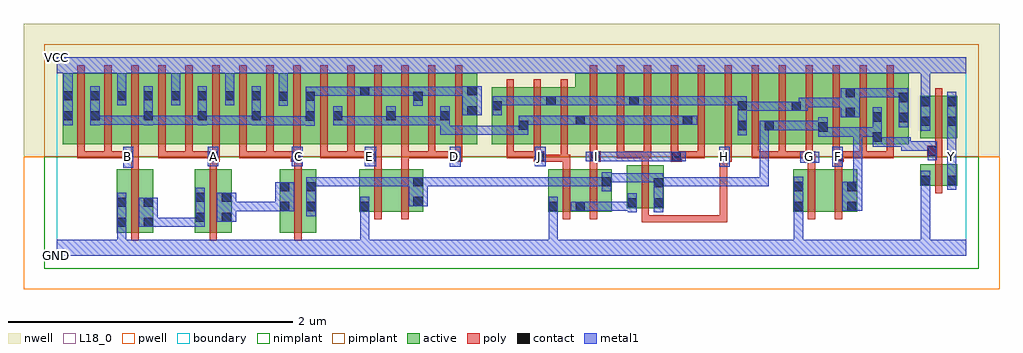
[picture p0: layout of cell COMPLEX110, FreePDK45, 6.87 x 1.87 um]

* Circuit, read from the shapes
.subckt COMPLEX110 A B C D E F G GND H I J VCC Y
M1 n1 B GND VSUBS nfet w=0.45u l=0.05u
M2 n2 A n1 VSUBS nfet w=0.45u l=0.05u
M3 n3 C n2 VSUBS nfet w=0.45u l=0.05u
M4 n4 E GND VSUBS nfet w=0.3u l=0.05u
M5 n3 D n4 VSUBS nfet w=0.3u l=0.05u
M6 n5 J GND VSUBS nfet w=0.3u l=0.05u
M7 n3 I n5 VSUBS nfet w=0.3u l=0.05u
M8 n3 H n5 VSUBS nfet w=0.3u l=0.05u
M9 n6 G GND VSUBS nfet w=0.3u l=0.05u
M10 n3 F n6 VSUBS nfet w=0.3u l=0.05u
M11 Y n3 GND VSUBS nfet w=0.15u l=0.05u
M12 n7 B VCC n8 pfet w=0.5u l=0.05u m=3
M13 VCC A n7 n8 pfet w=0.5u l=0.05u m=3
M14 n7 C VCC n8 pfet w=0.5u l=0.05u m=3
M15 n9 E n7 n8 pfet w=0.5u l=0.05u m=3
M16 n7 D n9 n8 pfet w=0.5u l=0.05u m=3
M17 n9 J n10 n8 pfet w=0.4u l=0.05u m=3
M18 n11 I n9 n8 pfet w=0.5u l=0.05u
M19 n10 H n11 n8 pfet w=0.5u l=0.05u
M20 n12 H n10 n8 pfet w=0.5u l=0.05u
M21 n9 I n12 n8 pfet w=0.5u l=0.05u
M22 n13 I n9 n8 pfet w=0.5u l=0.05u
M23 n10 H n13 n8 pfet w=0.5u l=0.05u
M24 n3 G n10 n8 pfet w=0.5u l=0.05u m=3
M25 n10 F n3 n8 pfet w=0.5u l=0.05u m=3
M26 Y n3 VCC n8 pfet w=0.3u l=0.05u
.ends

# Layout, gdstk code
import gdstk
lib = gdstk.Library(unit=1e-6, precision=1e-09)
def R(c, l, rs):  # rectangles x0, y0, x1, y1
    for r in rs: c.add(gdstk.rectangle(r[:2], r[2:], *l))
def A(c, l, x, y, w, h, nx, ny, dx, dy):  # array of equal rectangles
    R(c, l, [(x+i*dx, y+j*dy, x+i*dx+w, y+j*dy+h) for i in range(nx) for j in range(ny)])
active = (1, 0)
pwell = (2, 0)
nwell = (3, 0)
nimplant = (4, 0)
pimplant = (5, 0)
poly = (9, 0)
contact = (10, 0)
metal1 = (11, 0)
L18_0 = (18, 0)
boundary = (235, 0)

complex110 = lib.new_cell('COMPLEX110')
A(complex110, active, 0.42, 0.787, 0.26, 0.5, 3, 1, 0.38, 0)
A(complex110, active, 2.315, 0.787, 0.265, 0.5, 3, 1, 0.19, 0)
A(complex110, active, 0.42, 0.807, 0.075, 0.448, 3, 1, 0.38, 0)
A(complex110, active, 0.605, 0.807, 0.075, 0.393, 4, 1, 0.38, 0)
A(complex110, active, 4.787, 0.807, 0.075, 0.393, 3, 1, 0.38, 0)
R(complex110, active, [(0.42,0.162,0.68,0.612), (0.972,0.162,1.232,0.612), (1.567,0.162,1.827,0.612), (0.42,0.182,0.495,0.612), (0.605,0.195,0.68,0.612), (0.972,0.195,1.047,0.612), (1.157,0.195,1.232,0.612), (1.567,0.195,1.642,0.612), (1.752,0.195,1.827,0.612), (2.13,0.312,2.205,0.612), (2.13,0.312,2.355,0.612), (2.355,0.312,2.58,0.612), (3.457,0.312,3.532,0.612), (3.457,0.312,3.722,0.612), (3.647,0.312,3.907,0.612), (3.647,0.312,3.722,0.497), (5.182,0.312,5.257,0.612), (5.182,0.312,5.407,0.612), (5.407,0.312,5.632,0.612), (5.557,0.312,5.632,0.612), (3.832,0.332,3.907,0.612), (4.012,0.337,4.087,0.637), (4.012,0.337,4.272,0.637), (4.197,0.337,4.272,0.637), (2.505,0.345,2.58,0.612), (6.077,0.495,6.152,0.645), (6.077,0.495,6.337,0.645), (6.262,0.495,6.337,0.645), (0.04,0.787,0.305,1.287), (0.04,0.787,0.115,1.255), (0.23,0.787,0.495,1.287), (0.605,0.787,0.875,1.287), (0.985,0.787,1.255,1.287), (1.365,0.787,1.63,1.287), (1.555,0.787,1.82,1.287), (1.745,0.787,2.015,1.287), (1.94,0.787,2.205,1.287), (2.13,0.787,2.39,1.287), (2.885,0.787,2.96,1.2), (3.062,0.787,3.322,1.187), (3.062,0.787,3.137,1.155), (3.247,0.787,3.515,1.187), (3.247,0.787,3.322,1.07), (3.44,0.787,3.722,1.187), (3.647,0.787,3.872,1.287), (3.872,0.787,4.1,1.287), (4.025,0.787,4.252,1.287), (4.252,0.787,4.477,1.287), (4.402,0.787,4.632,1.287), (4.632,0.787,4.862,1.287), (4.787,0.787,5.052,1.287), (4.977,0.787,5.242,1.287), (5.167,0.787,5.43,1.287), (5.355,0.787,5.622,1.287), (5.547,0.787,5.812,1.287), (5.737,0.787,5.997,1.287), (5.922,0.787,5.997,1.2), (5.737,0.8,5.812,1.07), (0.23,0.807,0.305,1.2), (1.555,0.807,1.63,1.255), (1.94,0.807,2.015,1.07), (2.13,0.807,2.205,1.2), (2.315,0.807,2.39,1.07), (2.505,0.807,2.58,1.2), (2.695,0.807,2.77,1.07), (4.025,0.807,4.1,1.2), (4.402,0.807,4.477,1.07), (4.977,0.807,5.052,1.07), (5.355,0.807,5.43,1.07), (6.077,0.827,6.152,1.127), (6.077,0.827,6.337,1.127), (6.262,0.827,6.337,1.127), (3.44,0.907,3.515,1.155), (3.647,0.907,3.722,1.07)])
R(complex110, pwell, [(-0.235,-0.235,6.635,0.7)])
R(complex110, nwell, [(-0.235,0.7,6.635,1.635)])
R(complex110, nimplant, [(-0.09,-0.09,6.49,0.7)])
R(complex110, pimplant, [(-0.09,0.7,6.49,1.49)])
A(complex110, poly, 0.145, 0.687, 0.05, 0.095, 15, 1, 0.19, 0)
A(complex110, poly, 0.145, 0.687, 0.24, 0.05, 5, 1, 0.57, 0)
A(complex110, poly, 3.752, 0.687, 0.05, 0.095, 12, 1, 0.19, 0)
A(complex110, poly, 0.145, 0.732, 0.05, 0.61, 15, 1, 0.19, 0)
A(complex110, poly, 3.167, 0.732, 0.05, 0.51, 3, 1, 0.19, 0)
A(complex110, poly, 3.752, 0.732, 0.05, 0.61, 12, 1, 0.19, 0)
R(complex110, poly, [(0.525,0.107,0.575,0.667), (1.077,0.107,1.127,0.667), (1.672,0.107,1.722,0.667), (4.117,0.237,4.167,0.332), (4.117,0.237,4.167,0.287), (4.117,0.237,4.167,0.287), (4.117,0.237,4.167,0.287), (4.117,0.237,4.345,0.287), (4.295,0.237,4.345,0.287), (4.295,0.237,4.345,0.287), (4.295,0.237,4.345,0.287), (4.295,0.237,4.345,0.287), (4.295,0.237,4.345,0.287), (4.295,0.237,4.345,0.287), (4.295,0.237,4.345,0.287), (4.295,0.237,4.53,0.287), (4.48,0.237,4.53,0.287), (4.48,0.237,4.717,0.287), (4.667,0.237,4.717,0.287), (4.667,0.237,4.717,0.287), (4.667,0.237,4.717,0.287), (4.667,0.237,4.717,0.287), (4.667,0.237,4.717,0.287), (4.667,0.237,4.717,0.712), (2.235,0.257,2.285,0.667), (2.425,0.257,2.475,0.667), (3.562,0.257,3.612,0.667), (3.752,0.257,3.802,0.667), (5.287,0.257,5.337,0.667), (5.477,0.257,5.527,0.667), (4.117,0.282,4.167,0.692), (6.182,0.44,6.232,0.7), (0.525,0.617,0.575,0.712), (1.077,0.617,1.127,0.712), (1.672,0.617,1.722,0.712), (2.235,0.617,2.285,0.712), (2.425,0.617,2.475,0.737), (3.562,0.617,3.612,0.712), (3.752,0.617,3.802,0.712), (5.287,0.617,5.337,0.712), (5.477,0.617,5.527,0.712), (4.117,0.642,4.167,0.737), (6.182,0.65,6.232,0.752), (0.467,0.662,0.575,0.737), (1.067,0.662,1.145,0.737), (1.647,0.662,1.722,0.737), (2.177,0.662,2.285,0.737), (2.772,0.662,2.855,0.737), (3.357,0.662,3.432,0.737), (3.382,0.662,3.597,0.712), (3.547,0.662,3.597,0.712), (3.547,0.662,3.597,0.712), (3.547,0.662,3.612,0.712), (3.547,0.662,3.597,0.782), (3.752,0.662,3.827,0.737), (4.322,0.662,4.397,0.737), (4.667,0.662,4.752,0.737), (5.262,0.662,5.337,0.737), (5.462,0.662,5.537,0.737), (0.145,0.687,0.195,0.737), (0.335,0.687,0.385,0.737), (0.335,0.687,0.385,0.737), (0.335,0.687,0.385,0.737), (0.335,0.687,0.517,0.737), (0.467,0.687,0.517,0.737), (0.467,0.687,0.517,0.737), (0.715,0.687,0.765,0.737), (0.905,0.687,0.955,0.737), (0.905,0.687,0.955,0.737), (0.905,0.687,0.955,0.737), (0.905,0.687,1.117,0.737), (1.067,0.687,1.117,0.737), (1.067,0.687,1.117,0.737), (1.285,0.687,1.335,0.737), (1.285,0.687,1.335,0.737), (1.285,0.687,1.335,0.737), (1.475,0.687,1.525,0.737), (1.475,0.687,1.697,0.737), (1.647,0.687,1.697,0.737), (1.647,0.687,1.697,0.737), (1.855,0.687,1.905,0.737), (2.045,0.687,2.095,0.737), (2.045,0.687,2.095,0.737), (2.045,0.687,2.095,0.737), (2.045,0.687,2.227,0.737), (2.177,0.687,2.227,0.737), (2.177,0.687,2.227,0.737), (2.425,0.687,2.475,0.737), (2.425,0.687,2.475,0.737), (2.425,0.687,2.475,0.737), (2.615,0.687,2.665,0.737), (2.615,0.687,2.822,0.737), (2.772,0.687,2.822,0.737), (2.772,0.687,2.822,0.737), (3.167,0.687,3.217,0.782), (3.167,0.687,3.407,0.737), (3.167,0.687,3.217,0.737), (3.357,0.687,3.407,0.782), (3.357,0.687,3.407,0.737), (3.357,0.687,3.407,0.737), (3.942,0.687,3.992,0.737), (3.942,0.687,3.992,0.737), (3.942,0.687,3.992,0.737), (3.942,0.687,4.167,0.737), (4.117,0.687,4.182,0.737), (4.347,0.687,4.397,0.737), (4.347,0.687,4.397,0.737), (4.347,0.687,4.562,0.737), (4.512,0.687,4.562,0.737), (4.892,0.687,5.132,0.737), (4.892,0.687,4.942,0.737), (4.892,0.687,4.942,0.737), (4.892,0.687,4.942,0.737), (5.082,0.687,5.132,0.737), (5.082,0.687,5.132,0.737), (5.082,0.687,5.132,0.737), (5.082,0.687,5.312,0.737), (5.487,0.687,5.537,0.737), (5.487,0.687,5.537,0.737), (5.487,0.687,5.702,0.737), (5.652,0.687,5.892,0.737), (5.652,0.687,5.702,0.737), (5.652,0.687,5.702,0.737), (5.652,0.687,5.702,0.737), (5.842,0.687,5.892,0.737), (6.125,0.702,6.232,0.777), (6.182,0.727,6.232,0.822), (6.182,0.772,6.232,1.182)])
A(complex110, contact, 0.61, 0.955, 0.065, 0.065, 3, 1, 0.38, 0)
A(complex110, contact, 0.045, 1.095, 0.065, 0.065, 3, 1, 0.19, 0)
R(complex110, contact, [(0.425,0.205,0.49,0.27), (0.61,0.205,0.675,0.27), (0.977,0.24,1.042,0.305), (1.162,0.24,1.227,0.305), (1.572,0.315,1.637,0.38), (1.757,0.315,1.822,0.38), (2.135,0.317,2.2,0.382), (3.462,0.317,3.527,0.382), (3.652,0.317,3.717,0.382), (5.187,0.317,5.252,0.382), (5.562,0.317,5.627,0.382), (4.017,0.342,4.082,0.407), (4.202,0.342,4.267,0.407), (0.425,0.345,0.49,0.41), (0.61,0.345,0.675,0.41), (2.51,0.35,2.575,0.415), (0.977,0.38,1.042,0.445), (1.162,0.38,1.227,0.445), (1.572,0.455,1.637,0.52), (1.757,0.455,1.822,0.52), (5.187,0.457,5.252,0.522), (5.562,0.457,5.627,0.522), (4.202,0.482,4.267,0.547), (2.51,0.49,2.575,0.555), (3.837,0.49,3.902,0.555), (6.082,0.5,6.147,0.565), (6.267,0.5,6.332,0.565), (0.472,0.667,0.537,0.732), (1.072,0.667,1.137,0.732), (1.652,0.667,1.717,0.732), (2.182,0.667,2.247,0.732), (2.777,0.667,2.842,0.732), (3.362,0.667,3.427,0.732), (3.757,0.667,3.822,0.732), (4.327,0.667,4.392,0.732), (4.672,0.667,4.737,0.732), (5.267,0.667,5.332,0.732), (5.467,0.667,5.532,0.732), (6.13,0.707,6.195,0.772), (5.742,0.805,5.807,0.87), (5.36,0.875,5.425,0.94), (4.792,0.885,4.857,0.95), (4.982,0.885,5.047,0.95), (3.252,0.887,3.317,0.952), (6.082,0.915,6.147,0.98), (6.267,0.915,6.332,0.98), (3.652,0.922,3.717,0.987), (4.407,0.922,4.472,0.987), (5.927,0.942,5.992,1.007), (5.742,0.945,5.807,1.01), (1.75,0.952,1.815,1.017), (0.045,0.955,0.11,1.02), (0.235,0.955,0.3,1.02), (1.945,0.955,2.01,1.02), (2.32,0.955,2.385,1.02), (2.7,0.955,2.765,1.02), (5.552,0.977,5.617,1.042), (2.89,0.99,2.955,1.055), (5.172,1.022,5.237,1.087), (3.067,1.025,3.132,1.09), (4.792,1.025,4.857,1.09), (6.082,1.055,6.147,1.12), (6.267,1.055,6.332,1.12), (3.445,1.06,3.51,1.125), (4.03,1.06,4.095,1.125), (5.927,1.082,5.992,1.147), (1.56,1.092,1.625,1.157), (1.75,1.092,1.815,1.157), (2.51,1.092,2.575,1.157), (0.61,1.095,0.675,1.16), (0.805,1.095,0.87,1.16), (0.99,1.095,1.055,1.16), (1.185,1.095,1.25,1.16), (1.37,1.095,1.435,1.16), (5.552,1.117,5.617,1.182), (2.135,1.127,2.2,1.192), (2.89,1.13,2.955,1.195)])
A(complex110, metal1, 0.61, 0.92, 0.065, 0.275, 3, 1, 0.38, 0)
A(complex110, metal1, 0.425, 1.06, 0.065, 0.135, 3, 1, 0.38, 0)
A(complex110, metal1, 0.045, 1.13, 0.065, 0.22, 4, 1, 0.38, 0)
R(complex110, metal1, [(0,0,6.4,0.115), (0.425,0.05,0.49,0.115), (0.425,0.05,0.49,0.115), (0.425,0.05,0.49,0.235), (2.135,0.05,2.2,0.115), (2.135,0.05,2.2,0.115), (2.135,0.05,2.2,0.347), (3.462,0.05,3.527,0.115), (3.462,0.05,3.527,0.115), (3.462,0.05,3.527,0.115), (3.462,0.05,3.527,0.115), (3.462,0.05,3.527,0.347), (5.187,0.05,5.252,0.115), (5.187,0.05,5.252,0.115), (5.187,0.05,5.252,0.115), (5.187,0.05,5.252,0.115), (5.187,0.05,5.252,0.347), (6.082,0.05,6.147,0.115), (6.082,0.05,6.147,0.115), (6.082,0.05,6.147,0.115), (6.082,0.05,6.147,0.115), (6.082,0.05,6.147,0.53), (0.425,0.17,0.49,0.445), (0.575,0.205,0.71,0.41), (0.645,0.205,0.71,0.27), (0.645,0.205,0.71,0.27), (0.645,0.205,0.847,0.27), (0.782,0.205,0.847,0.27), (0.782,0.205,0.847,0.27), (0.782,0.205,0.847,0.27), (0.782,0.205,1.042,0.27), (0.977,0.205,1.042,0.48), (1.127,0.24,1.262,0.445), (1.757,0.28,1.822,0.555), (2.135,0.282,2.2,0.417), (2.135,0.282,2.2,0.347), (2.135,0.282,2.2,0.347), (3.462,0.282,3.527,0.417), (5.187,0.282,5.252,0.557), (4.017,0.307,4.082,0.442), (4.202,0.307,4.267,0.582), (1.197,0.315,1.262,0.38), (1.197,0.315,1.262,0.38), (1.197,0.315,1.435,0.38), (1.37,0.315,1.435,0.38), (1.37,0.315,1.435,0.38), (1.37,0.315,1.435,0.38), (1.37,0.315,1.602,0.38), (1.537,0.315,1.672,0.52), (3.617,0.317,3.752,0.382), (3.687,0.317,3.89,0.382), (3.825,0.317,3.89,0.382), (3.825,0.317,3.89,0.382), (3.825,0.317,3.89,0.382), (3.825,0.317,4.027,0.382), (3.962,0.317,4.027,0.382), (3.962,0.317,4.082,0.382), (5.527,0.317,5.67,0.522), (2.475,0.35,2.61,0.555), (3.837,0.455,3.902,0.59), (5.605,0.457,5.67,0.522), (5.605,0.457,5.67,0.522), (5.605,0.457,5.67,0.905), (6.082,0.465,6.147,0.6), (6.082,0.465,6.147,0.53), (6.082,0.465,6.147,0.53), (6.267,0.465,6.332,0.6), (1.757,0.49,1.822,0.555), (1.757,0.49,1.822,0.555), (1.757,0.49,2.027,0.555), (1.962,0.49,2.027,0.555), (1.962,0.49,2.027,0.555), (1.962,0.49,2.027,0.555), (1.962,0.49,2.165,0.555), (2.1,0.49,2.165,0.555), (2.1,0.49,2.165,0.555), (2.1,0.49,2.165,0.555), (2.1,0.49,2.372,0.555), (2.307,0.49,2.372,0.555), (2.307,0.49,2.372,0.555), (2.307,0.49,2.372,0.555), (2.307,0.49,2.54,0.555), (2.545,0.49,2.61,0.555), (2.545,0.49,2.61,0.555), (2.545,0.49,2.747,0.555), (2.682,0.49,2.747,0.555), (2.682,0.49,2.747,0.555), (2.682,0.49,2.747,0.555), (2.682,0.49,2.995,0.555), (2.93,0.49,2.995,0.555), (2.93,0.49,2.995,0.555), (2.93,0.49,2.995,0.555), (2.93,0.49,3.27,0.555), (3.205,0.49,3.27,0.555), (3.205,0.49,3.27,0.555), (3.205,0.49,3.27,0.555), (3.205,0.49,3.455,0.555), (3.39,0.49,3.455,0.555), (3.39,0.49,3.455,0.555), (3.39,0.49,3.455,0.555), (3.39,0.49,3.615,0.555), (3.55,0.49,3.615,0.555), (3.55,0.49,3.752,0.555), (3.687,0.49,3.752,0.555), (3.687,0.49,3.752,0.555), (3.687,0.49,3.752,0.555), (3.687,0.49,3.902,0.555), (4.202,0.49,4.335,0.555), (4.27,0.49,4.335,0.555), (4.27,0.49,4.542,0.555), (4.477,0.49,4.542,0.555), (4.477,0.49,4.582,0.555), (4.517,0.49,4.582,0.555), (4.517,0.49,4.68,0.555), (4.615,0.49,4.68,0.555), (4.615,0.49,4.875,0.555), (4.81,0.49,4.875,0.555), (4.81,0.49,4.875,0.555), (4.81,0.49,4.875,0.555), (4.81,0.49,4.875,0.555), (4.81,0.49,4.875,0.555), (4.81,0.49,4.875,0.555), (4.81,0.49,4.875,0.555), (4.81,0.49,5.012,0.555), (4.947,0.49,5.012,0.555), (4.947,0.49,5.012,0.555), (4.947,0.49,5.012,0.555), (4.947,0.49,5.012,0.95), (3.837,0.517,4.04,0.582), (3.975,0.517,4.04,0.582), (3.975,0.517,4.04,0.582), (3.975,0.517,4.04,0.582), (3.975,0.517,4.197,0.582), (4.132,0.517,4.197,0.582), (4.132,0.517,4.267,0.582), (6.267,0.535,6.332,0.697), (0.467,0.62,0.537,0.767), (2.767,0.627,2.842,0.767), (4.662,0.627,4.737,0.767), (5.457,0.627,5.532,0.767), (1.062,0.63,1.137,0.77), (3.362,0.63,3.44,0.767), (1.652,0.632,1.732,0.767), (2.167,0.632,2.247,0.767), (6.267,0.632,6.332,0.767), (5.232,0.655,5.367,0.732), (3.722,0.667,3.867,0.732), (3.802,0.667,3.89,0.732), (3.825,0.667,3.89,0.732), (3.825,0.667,4.04,0.732), (3.975,0.667,4.04,0.732), (3.975,0.667,4.04,0.732), (3.975,0.667,4.04,0.732), (3.975,0.667,4.197,0.732), (4.132,0.667,4.197,0.732), (4.132,0.667,4.267,0.732), (4.202,0.667,4.267,0.732), (4.202,0.667,4.357,0.732), (4.292,0.667,4.427,0.732), (6.13,0.672,6.195,0.807), (6.267,0.702,6.332,0.945), (5.945,0.742,6.01,0.807), (5.945,0.742,6.195,0.807), (5.945,0.742,6.01,0.835), (6.13,0.742,6.195,0.807), (6.13,0.742,6.195,0.807), (5.742,0.77,5.807,1.045), (5.742,0.77,6.01,0.835), (5.945,0.77,6.01,0.835), (5.945,0.77,6.01,0.835), (5.945,0.77,6.01,0.835), (5.945,0.77,6.01,0.835), (5.945,0.77,6.01,0.835), (5.36,0.84,5.425,0.975), (5.36,0.84,5.425,0.905), (5.36,0.84,5.425,0.905), (5.36,0.84,5.67,0.905), (5.605,0.84,5.67,0.905), (5.605,0.84,5.67,0.905), (5.605,0.84,5.67,0.905), (5.605,0.84,5.67,0.905), (5.605,0.84,5.67,0.905), (5.605,0.84,5.807,0.905), (4.792,0.85,4.857,1.125), (2.7,0.852,2.995,0.917), (2.7,0.852,2.765,0.985), (2.93,0.852,2.995,0.917), (2.93,0.852,2.995,0.917), (2.93,0.852,2.995,0.917), (2.93,0.852,3.29,0.917), (3.225,0.852,3.29,0.917), (3.225,0.852,3.317,0.917), (3.252,0.852,3.317,0.987), (6.082,0.88,6.147,1.155), (6.267,0.88,6.332,1.155), (4.947,0.885,5.082,0.95), (5,0.885,5.065,0.95), (5,0.885,5.065,0.95), (5,0.885,5.15,0.95), (5.085,0.885,5.15,0.95), (5.085,0.885,5.287,0.95), (5.222,0.885,5.287,0.95), (5.222,0.885,5.287,0.95), (5.222,0.885,5.287,0.95), (5.222,0.885,5.425,0.95), (5.927,0.907,5.992,1.182), (1.75,0.917,1.815,1.192), (0.045,0.92,0.11,1.195), (0.235,0.92,0.3,1.195), (1.37,0.92,1.435,0.985), (1.37,0.92,1.435,0.985), (1.37,0.92,1.677,0.985), (1.612,0.92,1.677,0.985), (1.612,0.92,1.677,0.985), (1.612,0.92,1.677,0.985), (1.612,0.92,1.815,0.985), (1.945,0.92,2.01,1.055), (1.945,0.92,2.01,0.985), (1.945,0.92,2.01,0.985), (1.945,0.92,2.165,0.985), (2.1,0.92,2.165,0.985), (2.1,0.92,2.165,0.985), (2.1,0.92,2.165,0.985), (2.1,0.92,2.385,0.985), (2.32,0.92,2.385,1.055), (2.32,0.92,2.385,0.985), (2.32,0.92,2.385,0.985), (2.32,0.92,2.522,0.985), (2.457,0.92,2.522,0.985), (2.457,0.92,2.522,0.985), (2.457,0.92,2.522,0.985), (2.457,0.92,2.765,0.985), (2.7,0.92,2.765,1.055), (2.7,0.92,2.765,0.985), (0.235,0.922,0.3,0.987), (0.235,0.922,0.3,0.987), (0.235,0.922,0.437,0.987), (0.372,0.922,0.437,0.987), (0.372,0.922,0.437,0.987), (0.372,0.922,0.437,0.987), (0.372,0.922,0.675,0.987), (0.61,0.922,0.675,0.987), (0.61,0.922,0.675,0.987), (0.61,0.922,0.905,0.987), (0.84,0.922,0.905,0.987), (0.84,0.922,0.905,0.987), (0.84,0.922,0.905,0.987), (0.84,0.922,1.055,0.987), (0.99,0.922,1.055,0.987), (0.99,0.922,1.055,0.987), (0.99,0.922,1.297,0.987), (1.232,0.922,1.297,0.987), (1.232,0.922,1.297,0.987), (1.232,0.922,1.297,0.987), (1.232,0.922,1.435,0.987), (3.252,0.922,3.455,0.987), (3.39,0.922,3.455,0.987), (3.39,0.922,3.455,0.987), (3.39,0.922,3.455,0.987), (3.39,0.922,3.615,0.987), (3.55,0.922,3.615,0.987), (3.55,0.922,3.682,0.987), (3.617,0.922,3.752,0.987), (3.687,0.922,3.89,0.987), (3.825,0.922,3.89,0.987), (3.825,0.922,3.89,0.987), (3.825,0.922,3.89,0.987), (3.825,0.922,4.06,0.987), (3.995,0.922,4.06,0.987), (3.995,0.922,4.06,0.987), (3.995,0.922,4.06,0.987), (3.995,0.922,4.197,0.987), (4.132,0.922,4.197,0.987), (4.132,0.922,4.267,0.987), (4.202,0.922,4.267,0.987), (4.202,0.922,4.437,0.987), (4.372,0.922,4.437,0.987), (4.372,0.922,4.437,0.987), (4.372,0.922,4.507,0.987), (5.517,0.977,5.652,1.182), (2.855,0.99,2.99,1.195), (3.067,0.99,3.132,1.125), (4.792,1.022,5.012,1.087), (4.947,1.022,5.012,1.087), (4.947,1.022,5.012,1.087), (4.947,1.022,5.012,1.087), (4.947,1.022,5.15,1.087), (5.085,1.022,5.15,1.087), (5.085,1.022,5.202,1.087), (5.137,1.022,5.272,1.087), (5.207,1.022,5.287,1.087), (5.222,1.022,5.287,1.112), (5.222,1.047,5.445,1.112), (5.38,1.047,5.445,1.112), (5.38,1.047,5.445,1.112), (5.38,1.047,5.445,1.112), (5.38,1.047,5.582,1.112), (1.56,1.057,1.625,1.192), (2.51,1.057,2.575,1.192), (3.067,1.06,3.132,1.125), (3.067,1.06,3.132,1.125), (3.067,1.06,3.317,1.125), (3.252,1.06,3.317,1.125), (3.252,1.06,3.475,1.125), (3.41,1.06,3.475,1.125), (3.41,1.06,3.475,1.125), (3.41,1.06,3.545,1.125), (3.48,1.06,3.615,1.125), (3.55,1.06,3.615,1.125), (3.55,1.06,3.752,1.125), (3.687,1.06,3.752,1.125), (3.687,1.06,3.752,1.125), (3.687,1.06,3.752,1.125), (3.687,1.06,3.89,1.125), (3.825,1.06,3.89,1.125), (3.825,1.06,4.06,1.125), (3.995,1.06,4.06,1.125), (3.995,1.06,4.06,1.125), (3.995,1.06,4.13,1.125), (4.065,1.06,4.197,1.125), (4.132,1.06,4.197,1.125), (4.132,1.06,4.267,1.125), (4.202,1.06,4.267,1.125), (4.202,1.06,4.405,1.125), (4.34,1.06,4.405,1.125), (4.34,1.06,4.405,1.125), (4.34,1.06,4.405,1.125), (4.34,1.06,4.582,1.125), (4.517,1.06,4.582,1.125), (4.517,1.06,4.72,1.125), (4.655,1.06,4.72,1.125), (4.655,1.06,4.72,1.125), (4.655,1.06,4.72,1.125), (4.655,1.06,4.857,1.125), (6.082,1.09,6.147,1.155), (6.082,1.09,6.147,1.155), (6.082,1.09,6.147,1.35), (5.587,1.117,5.807,1.182), (5.742,1.117,5.807,1.182), (5.742,1.117,5.807,1.182), (5.742,1.117,5.807,1.182), (5.742,1.117,5.992,1.182), (5.927,1.117,5.992,1.182), (5.927,1.117,5.992,1.182), (1.56,1.127,1.625,1.35), (1.75,1.127,1.815,1.192), (1.75,1.127,1.815,1.192), (1.75,1.127,1.815,1.192), (1.75,1.127,1.815,1.192), (1.75,1.127,2.027,1.192), (1.962,1.127,2.027,1.192), (1.962,1.127,2.027,1.192), (1.962,1.127,2.027,1.192), (1.962,1.127,2.165,1.192), (2.1,1.127,2.235,1.192), (2.17,1.127,2.235,1.192), (2.17,1.127,2.235,1.192), (2.17,1.127,2.372,1.192), (2.307,1.127,2.372,1.192), (2.307,1.127,2.372,1.192), (2.307,1.127,2.372,1.192), (2.307,1.127,2.575,1.192), (2.51,1.127,2.575,1.192), (2.51,1.127,2.575,1.192), (2.51,1.127,2.782,1.192), (2.717,1.127,2.782,1.192), (2.717,1.127,2.782,1.192), (2.717,1.127,2.782,1.192), (2.717,1.127,2.92,1.192), (0,1.285,6.4,1.4)])
A(complex110, L18_0, 0.467, 0.667, 0.065, 0.065, 3, 1, 0.6, 0)
A(complex110, L18_0, 2.167, 0.667, 0.065, 0.065, 3, 1, 0.6, 0)
A(complex110, L18_0, 0.425, 1.06, 0.065, 0.135, 3, 1, 0.38, 0)
A(complex110, L18_0, 0.045, 1.13, 0.065, 0.22, 4, 1, 0.38, 0)
R(complex110, L18_0, [(0,0,6.4,0.115), (0.425,0.05,0.49,0.115), (0.425,0.05,0.49,0.115), (0.425,0.05,0.49,0.235), (2.135,0.05,2.2,0.115), (2.135,0.05,2.2,0.115), (2.135,0.05,2.2,0.347), (3.462,0.05,3.527,0.115), (3.462,0.05,3.527,0.115), (3.462,0.05,3.527,0.115), (3.462,0.05,3.527,0.115), (3.462,0.05,3.527,0.347), (5.187,0.05,5.252,0.115), (5.187,0.05,5.252,0.115), (5.187,0.05,5.252,0.115), (5.187,0.05,5.252,0.115), (5.187,0.05,5.252,0.347), (6.082,0.05,6.147,0.115), (6.082,0.05,6.147,0.115), (6.082,0.05,6.147,0.115), (6.082,0.05,6.147,0.115), (6.082,0.05,6.147,0.53), (0.425,0.17,0.49,0.445), (2.135,0.282,2.2,0.347), (2.135,0.282,2.2,0.347), (2.135,0.282,2.2,0.417), (3.462,0.282,3.527,0.417), (5.187,0.282,5.252,0.557), (6.082,0.465,6.147,0.53), (6.082,0.465,6.147,0.53), (6.082,0.465,6.147,0.6), (6.267,0.465,6.332,0.6), (6.267,0.535,6.332,0.697), (0.467,0.62,0.537,0.767), (2.767,0.627,2.842,0.767), (4.662,0.627,4.737,0.767), (5.457,0.627,5.532,0.767), (1.062,0.63,1.137,0.77), (3.362,0.63,3.44,0.767), (1.652,0.632,1.732,0.767), (2.167,0.632,2.247,0.767), (6.267,0.632,6.332,0.767), (5.232,0.655,5.367,0.732), (3.722,0.667,3.867,0.732), (3.767,0.667,3.832,0.732), (3.802,0.667,3.89,0.732), (3.825,0.667,3.89,0.732), (3.825,0.667,4.04,0.732), (3.975,0.667,4.04,0.732), (3.975,0.667,4.04,0.732), (3.975,0.667,4.04,0.732), (3.975,0.667,4.197,0.732), (4.132,0.667,4.197,0.732), (4.132,0.667,4.267,0.732), (4.202,0.667,4.267,0.732), (4.202,0.667,4.357,0.732), (4.292,0.667,4.427,0.732), (4.667,0.667,4.732,0.732), (5.267,0.667,5.332,0.732), (5.467,0.667,5.532,0.732), (6.267,0.667,6.332,0.732), (6.267,0.702,6.332,0.945), (6.082,0.88,6.147,1.155), (6.267,0.88,6.332,1.155), (0.045,0.92,0.11,1.195), (1.56,1.057,1.625,1.192), (6.082,1.09,6.147,1.155), (6.082,1.09,6.147,1.155), (6.082,1.09,6.147,1.35), (1.56,1.127,1.625,1.35), (0,1.285,6.4,1.4)])
R(complex110, boundary, [(0,0,6.4,1.4)])
complex110.add(gdstk.Label('A', (1.1,0.7), layer=11, texttype=0))
complex110.add(gdstk.Label('B', (0.5,0.7), layer=11, texttype=0))
complex110.add(gdstk.Label('C', (1.7,0.7), layer=11, texttype=0))
complex110.add(gdstk.Label('D', (2.8,0.7), layer=11, texttype=0))
complex110.add(gdstk.Label('E', (2.2,0.7), layer=11, texttype=0))
complex110.add(gdstk.Label('F', (5.5,0.7), layer=11, texttype=0))
complex110.add(gdstk.Label('G', (5.3,0.7), layer=11, texttype=0))
complex110.add(gdstk.Label('H', (4.7,0.7), layer=11, texttype=0))
complex110.add(gdstk.Label('I', (3.8,0.7), layer=11, texttype=0))
complex110.add(gdstk.Label('J', (3.4,0.7), layer=11, texttype=0))
complex110.add(gdstk.Label('Y', (6.3,0.7), layer=11, texttype=0))
complex110.add(gdstk.Label('VCC', (0,1.4), layer=11, texttype=0))
complex110.add(gdstk.Label('GND', (0,0), layer=11, texttype=0))

lib.write_gds('COMPLEX110.gds')
